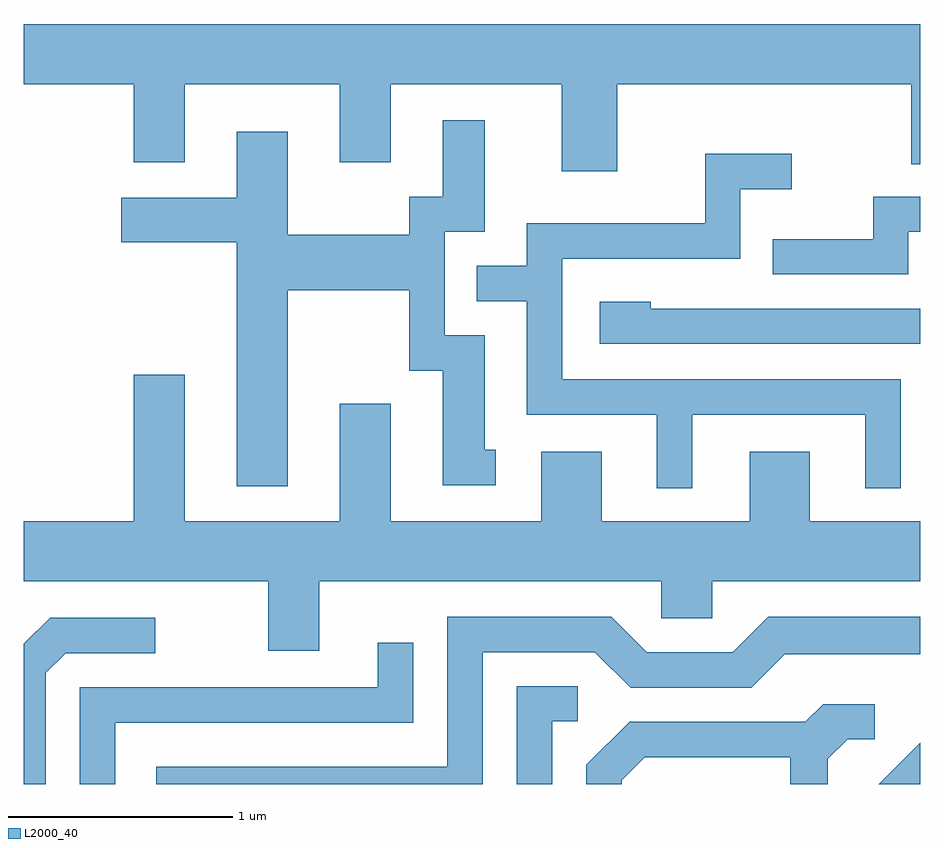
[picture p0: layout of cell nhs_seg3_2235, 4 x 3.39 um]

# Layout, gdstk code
import gdstk
lib = gdstk.Library(unit=1e-6, precision=1e-09)
def P(c, l, *ps):  # polygons
    for p in ps: c.add(gdstk.Polygon(p, *l))
L2000_40 = (2000, 40)

nhs_seg3_2235 = lib.new_cell('nhs_seg3_2235')
P(nhs_seg3_2235, L2000_40, [(252.259,1237.016),(253.571,1237.016),(253.571,1236.658),(253.611,1236.658),(253.611,1237.284),(249.611,1237.284),(249.611,1237.016),(250.101,1237.016),(250.101,1236.666),(250.329,1236.666),(250.329,1237.016),(251.021,1237.016),(251.021,1236.666),(251.249,1236.666),(251.249,1237.016),(252.011,1237.016),(252.011,1236.626),(252.259,1236.626)],
  [(250.789,1236.096),(251.331,1236.096),(251.331,1235.736),(251.481,1235.736),(251.481,1235.226),(251.718,1235.226),(251.718,1235.384),(251.669,1235.384),(251.669,1235.894),(251.489,1235.894),(251.489,1236.356),(251.669,1236.356),(251.669,1236.854),(251.481,1236.854),(251.481,1236.514),(251.331,1236.514),(251.331,1236.344),(250.789,1236.344),(250.789,1236.804),(250.561,1236.804),(250.561,1236.509),(250.046,1236.509),(250.046,1236.311),(250.561,1236.311),(250.561,1235.221),(250.789,1235.221)],
  [(252.594,1235.541),(253.366,1235.541),(253.366,1235.213),(253.524,1235.213),(253.524,1235.699),(252.014,1235.699),(252.014,1236.236),(252.809,1236.236),(252.809,1236.546),(253.038,1236.546),(253.038,1236.704),(252.651,1236.704),(252.651,1236.394),(251.856,1236.394),(251.856,1236.204),(251.633,1236.204),(251.633,1236.046),(251.856,1236.046),(251.856,1235.541),(252.436,1235.541),(252.436,1235.213),(252.594,1235.213)],
  [(253.559,1236.356),(253.611,1236.356),(253.611,1236.514),(253.401,1236.514),(253.401,1236.324),(252.953,1236.324),(252.953,1236.166),(253.559,1236.166)],
  [(253.611,1236.014),(252.409,1236.014),(252.409,1236.044),(252.181,1236.044),(252.181,1235.856),(253.611,1235.856)],
  [(250.929,1234.796),(252.456,1234.796),(252.456,1234.631),(252.684,1234.631),(252.684,1234.796),(253.611,1234.796),(253.611,1235.064),(253.119,1235.064),(253.119,1235.374),(252.851,1235.374),(252.851,1235.064),(252.189,1235.064),(252.189,1235.374),(251.921,1235.374),(251.921,1235.064),(251.249,1235.064),(251.249,1235.589),(251.021,1235.589),(251.021,1235.064),(250.329,1235.064),(250.329,1235.719),(250.101,1235.719),(250.101,1235.064),(249.611,1235.064),(249.611,1234.796),(250.701,1234.796),(250.701,1234.486),(250.929,1234.486)],
  [(251.659,1234.481),(252.159,1234.481),(252.319,1234.321),(252.857,1234.321),(253.007,1234.471),(253.611,1234.471),(253.611,1234.639),(252.934,1234.639),(252.774,1234.479),(252.392,1234.479),(252.232,1234.639),(251.501,1234.639),(251.501,1233.969),(250.201,1233.969),(250.201,1233.892),(251.659,1233.892)],
  [(249.709,1234.389),(249.797,1234.476),(250.198,1234.476),(250.198,1234.634),(249.729,1234.634),(249.611,1234.517),(249.611,1233.892),(249.709,1233.892)],
  [(250.019,1234.166),(251.349,1234.166),(251.349,1234.523),(251.191,1234.523),(251.191,1234.324),(249.861,1234.324),(249.861,1233.892),(250.019,1233.892)],
  [(251.969,1234.171),(252.083,1234.171),(252.083,1234.329),(251.811,1234.329),(251.811,1233.892),(251.969,1233.892)],
  [(252.279,1233.909),(252.382,1234.011),(253.031,1234.011),(253.031,1233.892),(253.199,1233.892),(253.199,1234.004),(253.287,1234.091),(253.408,1234.091),(253.408,1234.249),(253.179,1234.249),(253.099,1234.169),(252.314,1234.169),(252.121,1233.977),(252.121,1233.892),(252.279,1233.892)],
  [(253.611,1234.077),(253.426,1233.892),(253.611,1233.892)])

lib.write_gds('nhs_seg3_2235.gds')
